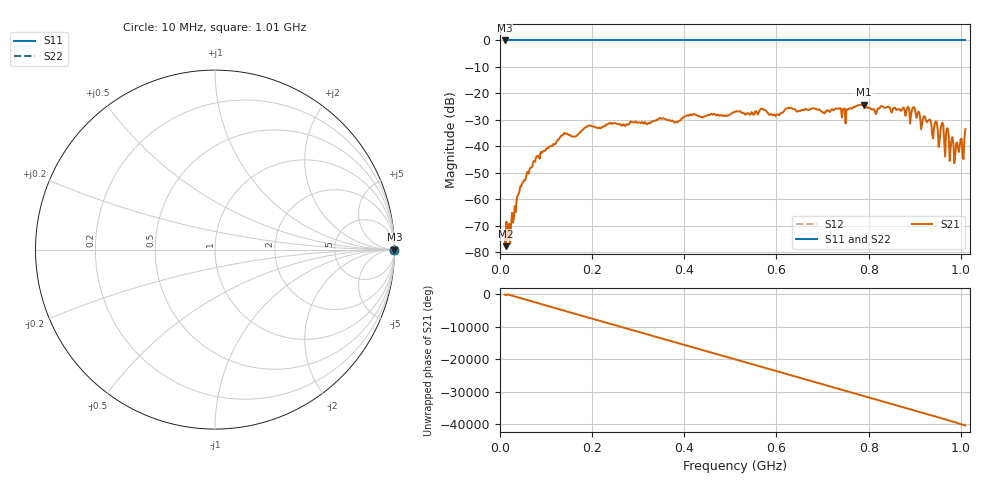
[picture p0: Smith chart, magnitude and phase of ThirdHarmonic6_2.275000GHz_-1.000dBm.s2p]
! 8/17/2025 2:54:37 AM
! C:\ANRITSUVNA\TEMP\TEMP.S2P
! CHANNEL.1
! TR.MEASUREMENT
! RAW.DATA
! RF.CORRECTION.OFF
! AVERAGING.OFF
! IF.BANDWIDTH: 5KHZ
! SWEEPTYPE:  FREQ.SWEEP(Linear)
! Reference Plane Port Info
! PORT:  PORT1  PORT2
! DISTANCE:  0  m  0  m
! TIME:  0  s  0  s
! PHASE.OFFSET:  0  deg.  0  deg.
! LOSS:  0  dB  0  dB
! REF.LOSS:  0  dB  0  dB
! REF.FREQ:  0  Hz  0  Hz
! Power Info
! POWER:  -20  dBm  -20  dBm
! EFF.POWER:  -20  dBm  -20  dBm
! SOURCE.ATTEN:  0  dB  0  dB
! TEST.ATTEN:  0  dB  0  dB
# GHZ S RI R 50.0
! FREQ.GHZ  S11RE  S11IM  S21RE  S21IM  S12RE  S12IM  S22RE  S22IM
!; PortSelection: Port_12
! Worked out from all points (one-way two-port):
!   501 points, 10 MHz to 1.01 GHz, reference 50 ohm
!   highest |S21| = -24.19 dB at 790 MHz (marker M1); lowest = -77.6 dB at 12 MHz (marker M2)
!   lowest |S11| = 0.0 dB at 10 MHz (marker M3)
!   |S11| at or under -10 dB: nowhere
!   |S22| runs from 0.0 to 0.0 dB; largest |S21 - S12| = 1.1
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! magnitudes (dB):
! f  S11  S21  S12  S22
! 10 MHz  0.0  -72.1  0.0  0.0
! 12 MHz  0.0  -77.6  0.0  0.0
! 26 MHz  0.0  -65.1  0.0  0.0
! 46 MHz  0.0  -55.1  0.0  0.0
! 76 MHz  0.0  -45.8  0.0  0.0
! 136 MHz  0.0  -35.8  0.0  0.0
! 178 MHz  0.0  -34.0  0.0  0.0
! 344 MHz  0.0  -29.7  0.0  0.0
! 510 MHz  0.0  -27.0  0.0  0.0
! 596 MHz  0.0  -28.0  0.0  0.0
! 678 MHz  0.0  -25.6  0.0  0.0
! 746 MHz  0.0  -25.8  0.0  0.0
! 790 MHz  0.0  -24.2  0.0  0.0
! 844 MHz  0.0  -25.1  0.0  0.0
! 898 MHz  0.0  -25.1  0.0  0.0
! 938 MHz  0.0  -35.7  0.0  0.0
! 946 MHz  0.0  -30.5  0.0  0.0
! 952 MHz  0.0  -40.2  0.0  0.0
! 960 MHz  0.0  -31.0  0.0  0.0
! 990 MHz  0.0  -38.9  0.0  0.0
! 1.002 GHz  0.0  -37.2  0.0  0.0
! 1.01 GHz  0.0  -33.5  0.0  0.0
